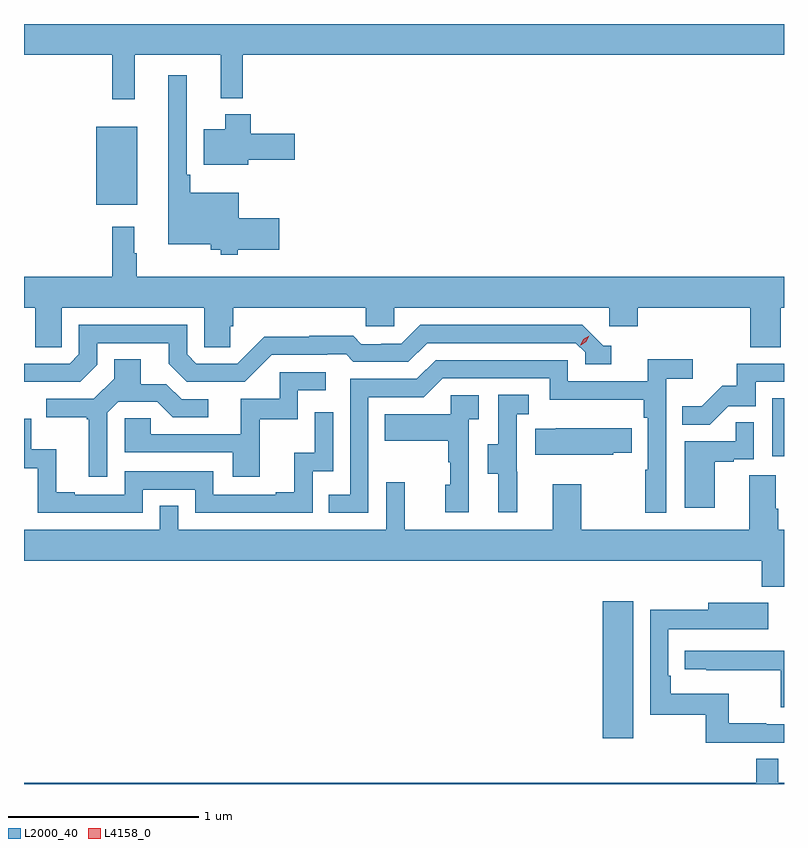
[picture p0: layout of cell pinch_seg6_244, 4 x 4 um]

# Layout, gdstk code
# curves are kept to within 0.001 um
import gdstk
lib = gdstk.Library(unit=1e-6, precision=1e-09)
def R(c, l, rs):  # rectangles x0, y0, x1, y1
    for r in rs: c.add(gdstk.rectangle(r[:2], r[2:], *l))
def P(c, l, *ps):  # polygons
    for p in ps: c.add(gdstk.Polygon(p, *l))
L2000_40 = (2000, 40)
L4158_0 = (4158, 0)

pinch_seg6_244 = lib.new_cell('pinch_seg6_244')
R(pinch_seg6_244, L2000_40, [(1134.608,917.1,1134.769,917.821), (1135.502,918.582,1135.563,918.889), (1131.944,919.907,1132.159,920.317)])
P(pinch_seg6_244, L2000_40, [(1132.145,920.696),(1132.598,920.696),(1132.598,920.468),(1132.715,920.468),(1132.715,920.696),(1135.563,920.696),(1135.563,920.858),(1131.563,920.858),(1131.563,920.696),(1132.027,920.696),(1132.027,920.463),(1132.145,920.463)],
  [(1132.689,919.67),(1132.906,919.67),(1132.906,919.836),(1132.693,919.836),(1132.693,919.969),(1132.439,919.969),(1132.439,920.065),(1132.419,920.065),(1132.419,920.587),(1132.322,920.587),(1132.322,919.7),(1132.546,919.7),(1132.546,919.67),(1132.599,919.67),(1132.599,919.643),(1132.689,919.643)],
  [(1132.744,920.143),(1132.987,920.143),(1132.987,920.28),(1132.757,920.28),(1132.757,920.383),(1132.622,920.383),(1132.622,920.305),(1132.508,920.305),(1132.508,920.117),(1132.744,920.117)],
  [(1131.762,919.364),(1132.512,919.364),(1132.512,919.156),(1132.649,919.156),(1132.649,919.266),(1132.664,919.266),(1132.664,919.364),(1133.361,919.364),(1133.361,919.266),(1133.511,919.266),(1133.511,919.364),(1134.642,919.364),(1134.642,919.266),(1134.794,919.266),(1134.794,919.364),(1135.385,919.364),(1135.385,919.156),(1135.545,919.156),(1135.545,919.364),(1135.563,919.364),(1135.563,919.528),(1132.156,919.528),(1132.156,919.652),(1132.144,919.652),(1132.144,919.792),(1132.027,919.792),(1132.027,919.528),(1131.563,919.528),(1131.563,919.364),(1131.623,919.364),(1131.623,919.156),(1131.762,919.156)],
  [(1131.642,918.975),(1131.858,918.975),(1131.948,919.065),(1131.948,919.179),(1132.325,919.179),(1132.325,919.069),(1132.419,918.975),(1132.725,918.975),(1132.866,919.116),(1133.159,919.116),(1133.159,919.119),(1133.258,919.119),(1133.297,919.08),(1133.586,919.08),(1133.685,919.179),(1134.468,919.179),(1134.516,919.131),(1134.516,919.068),(1134.655,919.068),(1134.655,919.164),(1134.612,919.164),(1134.501,919.275),(1133.648,919.275),(1133.549,919.176),(1133.442,919.176),(1133.442,919.173),(1133.339,919.173),(1133.297,919.216),(1133.064,919.216),(1133.064,919.213),(1132.828,919.213),(1132.686,919.071),(1132.47,919.071),(1132.422,919.119),(1132.422,919.275),(1131.852,919.275),(1131.852,919.119),(1131.804,919.071),(1131.563,919.071),(1131.563,918.974)],
  [(1133.376,918.894),(1133.667,918.894),(1133.766,918.993),(1134.33,918.993),(1134.33,918.881),(1134.826,918.881),(1134.826,918.785),(1134.846,918.785),(1134.846,918.512),(1134.834,918.512),(1134.834,918.285),(1134.942,918.285),(1134.942,918.992),(1135.084,918.992),(1135.084,919.094),(1134.845,919.094),(1134.845,918.978),(1134.426,918.978),(1134.426,919.089),(1133.729,919.089),(1133.63,918.99),(1133.28,918.99),(1133.28,918.381),(1133.167,918.381),(1133.167,918.285),(1133.376,918.285)],
  [(1132.002,918.813),(1132.059,918.87),(1132.265,918.87),(1132.346,918.789),(1132.534,918.789),(1132.534,918.882),(1132.392,918.882),(1132.312,918.962),(1132.177,918.962),(1132.177,919.094),(1132.037,919.094),(1132.037,918.992),(1131.93,918.885),(1131.681,918.885),(1131.681,918.788),(1131.894,918.788),(1131.894,918.777),(1131.905,918.777),(1131.905,918.474),(1132.002,918.474)],
  [(1135.269,918.846),(1135.413,918.846),(1135.413,918.975),(1135.563,918.975),(1135.563,919.071),(1135.315,919.071),(1135.315,918.954),(1135.238,918.954),(1135.131,918.847),(1135.027,918.847),(1135.027,918.748),(1135.171,918.748)],
  [(1132.805,918.777),(1133.004,918.777),(1133.004,918.93),(1133.152,918.93),(1133.152,919.026),(1132.908,919.026),(1132.908,918.885),(1132.703,918.885),(1132.703,918.699),(1132.229,918.699),(1132.229,918.783),(1132.092,918.783),(1132.092,918.603),(1132.661,918.603),(1132.661,918.474),(1132.805,918.474)],
  [(1134.158,918.501),(1134.156,918.501),(1134.156,918.805),(1134.22,918.805),(1134.22,918.908),(1134.06,918.908),(1134.06,918.645),(1134.005,918.645),(1134.005,918.49),(1134.059,918.49),(1134.059,918.288),(1134.158,918.288)],
  [(1133.904,918.779),(1133.956,918.779),(1133.956,918.903),(1133.808,918.903),(1133.808,918.805),(1133.461,918.805),(1133.461,918.665),(1133.796,918.665),(1133.796,918.551),(1133.806,918.551),(1133.806,918.432),(1133.78,918.432),(1133.78,918.288),(1133.904,918.288)],
  [(1132.188,918.408),(1132.464,918.408),(1132.464,918.285),(1133.082,918.285),(1133.082,918.504),(1133.19,918.504),(1133.19,918.814),(1133.094,918.814),(1133.094,918.602),(1132.985,918.602),(1132.985,918.394),(1132.889,918.394),(1132.889,918.381),(1132.56,918.381),(1132.56,918.504),(1132.092,918.504),(1132.092,918.381),(1131.829,918.381),(1131.829,918.394),(1131.733,918.394),(1131.733,918.619),(1131.6,918.619),(1131.6,918.78),(1131.563,918.78),(1131.563,918.521),(1131.636,918.521),(1131.636,918.285),(1132.188,918.285)],
  [(1135.198,918.555),(1135.298,918.555),(1135.298,918.567),(1135.404,918.567),(1135.404,918.761),(1135.309,918.761),(1135.309,918.663),(1135.04,918.663),(1135.04,918.312),(1135.198,918.312)],
  [(1134.663,918.601),(1134.761,918.601),(1134.761,918.73),(1134.361,918.73),(1134.361,918.727),(1134.253,918.727),(1134.253,918.59),(1134.663,918.59)],
  [(1135.563,918.196),(1135.532,918.196),(1135.532,918.308),(1135.519,918.308),(1135.519,918.482),(1135.379,918.482),(1135.379,918.196),(1134.495,918.196),(1134.495,918.436),(1134.347,918.436),(1134.347,918.196),(1133.567,918.196),(1133.567,918.445),(1133.469,918.445),(1133.469,918.196),(1132.374,918.196),(1132.374,918.323),(1132.278,918.323),(1132.278,918.196),(1131.563,918.196),(1131.563,918.032),(1135.445,918.032),(1135.445,917.897),(1135.563,917.897)],
  [(1135.563,917.172),(1135.469,917.172),(1135.469,917.177),(1135.273,917.177),(1135.273,917.332),(1134.968,917.332),(1134.968,917.428),(1134.954,917.428),(1134.954,917.673),(1135.267,917.673),(1135.267,917.672),(1135.481,917.672),(1135.481,917.812),(1135.163,917.812),(1135.163,917.774),(1134.858,917.774),(1134.858,917.223),(1135.152,917.223),(1135.152,917.076),(1135.563,917.076)],
  [(1135.563,917.559),(1135.041,917.559),(1135.041,917.463),(1135.153,917.463),(1135.153,917.458),(1135.546,917.458),(1135.546,917.262),(1135.563,917.262)],
  [(1135.563,916.864),(1135.533,916.864),(1135.533,916.991),(1135.417,916.991),(1135.417,916.864),(1131.563,916.864),(1131.563,916.858),(1135.563,916.858)])
P(pinch_seg6_244, L4158_0, [(1134.491,919.166),(1134.491,919.166),(1134.507,919.198),(1134.538,919.218),(1134.538,919.218),(1134.538,919.218),(1134.522,919.185),(1134.492,919.166)])

lib.write_gds('pinch_seg6_244.gds')
